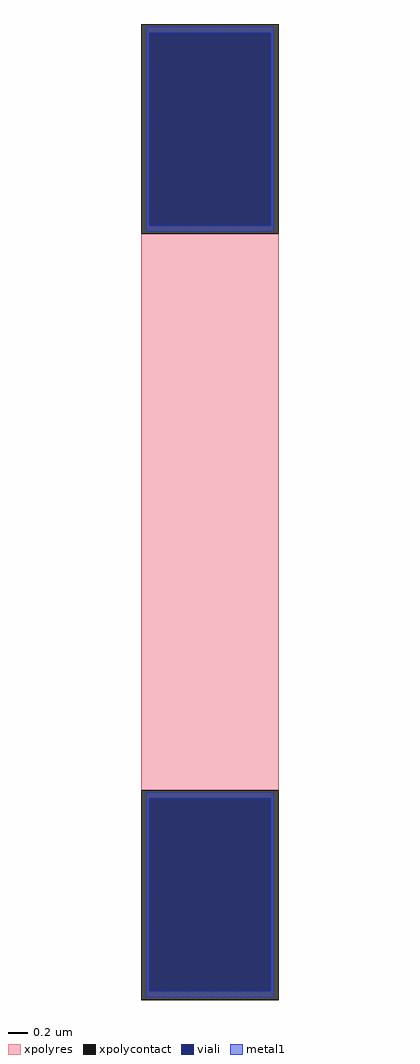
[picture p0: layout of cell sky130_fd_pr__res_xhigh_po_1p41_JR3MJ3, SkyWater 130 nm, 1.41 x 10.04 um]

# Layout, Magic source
magic
tech sky130A
magscale 1 2
<< xpolycontact >>
rect -141 572 141 1004
rect -141 -1004 141 -572
<< xpolyres >>
rect -141 -572 141 572
<< viali >>
rect -125 589 125 986
rect -125 -986 125 -589
<< metal1 >>
rect -131 986 131 998
rect -131 589 -125 986
rect 125 589 131 986
rect -131 577 131 589
rect -131 -589 131 -577
rect -131 -986 -125 -589
rect 125 -986 131 -589
rect -131 -998 131 -986
<< properties >>
string gencell sky130_fd_pr__res_xhigh_po_1p41
string library sky130
string parameters w 1.410 l 5.884 m 1 nx 1 wmin 1.410 lmin 0.50 rho 2000 val 8.613k dummy 0 dw 0.0 term 188.2 sterm 0.0 caplen 0 wmax 1.410 guard 0 glc 1 grc 1 gtc 1 gbc 1 compatible {sky130_fd_pr__res_xhigh_po_0p35  sky130_fd_pr__res_xhigh_po_0p69 sky130_fd_pr__res_xhigh_po_1p41  sky130_fd_pr__res_xhigh_po_2p85 sky130_fd_pr__res_xhigh_po_5p73} snake 0 full_metal 1 n_guard 0 hv_guard 0 vias 1 viagb 0 viagt 0 viagl 0 viagr 0
<< end >>
